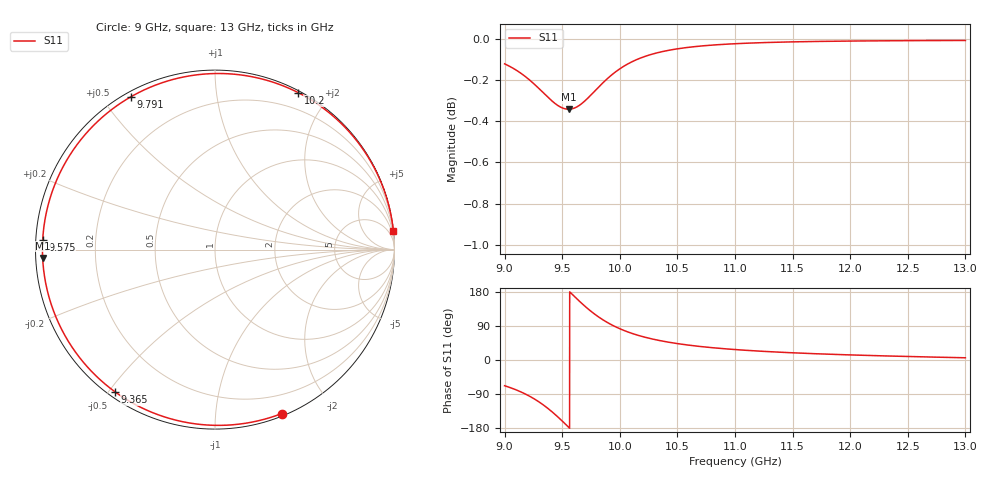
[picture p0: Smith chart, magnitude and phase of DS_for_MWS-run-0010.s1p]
! TOUCHSTONE file generated by CST DESIGN STUDIO
! Date and time: Tue Feb  4 13:45:20 2025
! Project name: C:\Work\MatlabApps\UnitCellOptimizationMatlab\CST\unitcell.cst
! Tree item: Tasks\Sweep1\SPara1\S-Parameters
! Header version: 2024
! Port assignment regex: !\s*Touchstone port\s*([0-9]+)\s*=\s*(CST MWS port|CST DES external port|CST DES block port)\s*(.+)\s* \(\"(.*)\"\)(\s*mode\s*([0-9]+))?.*
! Touchstone port assignment:
! Touchstone port 1 = CST DES external port 1 ("")
# GHz S MA R 50
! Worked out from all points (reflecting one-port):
!   4001 points, 9 GHz to 13 GHz, reference 50 ohm
!   lowest |S11| = -0.3 dB at 9.555 GHz (marker M1), VSWR 50.88, Z = 0.983 - j1.22 ohm
!   phase of S11 starts at -68 deg and turns -286 deg over the sweep
!   S11 on the Smith chart (normalised r, x): 9 GHz: 0.02, -1.49; 9.365 GHz: 0.02, -0.52; 9.575 GHz: 0.02, +0.03; 9.791 GHz: 0.02, +0.59; 10.2 GHz: 0.02, +1.66; 13 GHz: 0, +20
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9  0.9862 -67.9
9.04  0.9849 -71.9
9.106  0.9825 -79.6
9.218  0.9772 -95.8
9.296  0.9728 -110.1
9.365  0.9686 -125.2
9.431  0.9649 -141.8
9.5  0.9622 -161.0
9.555  0.9614 -177.2
9.575  0.9615 176.8
9.63  0.9628 160.7
9.69  0.9656 143.8
9.74  0.9685 130.9
9.791  0.9718 118.9
9.836  0.9747 109.4
9.885  0.9776 100.2
9.939  0.9806 91.3
10  0.9834 82.5
10.093  0.9869 71.5
10.195  0.9898 62.0
10.335  0.9925 52.0
10.5  0.9945 43.3
10.721  0.9962 34.9
11  0.9974 27.6
11.5  0.9984 19.0
12  0.9988 13.4
12.5  0.9991 9.3
13  0.9992 5.9
